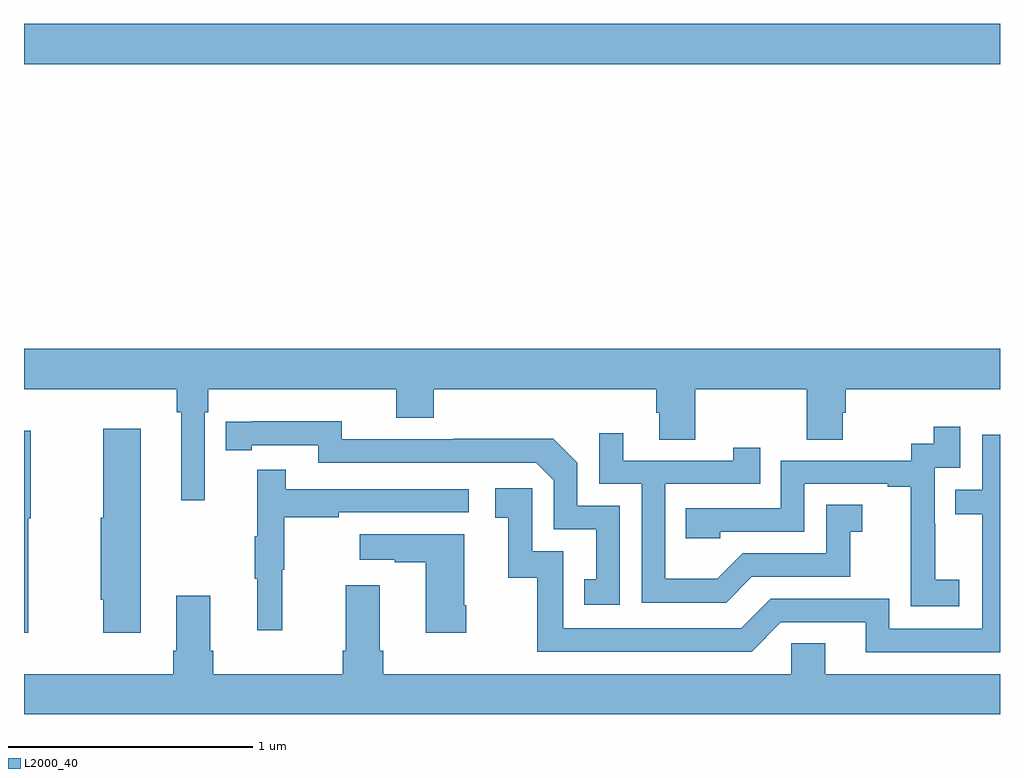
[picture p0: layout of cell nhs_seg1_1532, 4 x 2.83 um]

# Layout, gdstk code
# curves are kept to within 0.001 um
import gdstk
lib = gdstk.Library(unit=1e-6, precision=1e-09)
def R(c, l, rs):  # rectangles x0, y0, x1, y1
    for r in rs: c.add(gdstk.rectangle(r[:2], r[2:], *l))
def P(c, l, *ps):  # polygons
    for p in ps: c.add(gdstk.Polygon(p, *l))
L2000_40 = (2000, 40)

nhs_seg1_1532 = lib.new_cell('nhs_seg1_1532')
R(nhs_seg1_1532, L2000_40, [(195,515.768,199,515.932)])
P(nhs_seg1_1532, L2000_40, [(195.741,514.34),(195.755,514.34),(195.755,514.436),(196.526,514.436),(196.526,514.319),(196.679,514.319),(196.679,514.436),(197.591,514.436),(197.591,514.338),(197.603,514.338),(197.603,514.228),(197.751,514.228),(197.751,514.436),(198.208,514.436),(198.208,514.228),(198.355,514.228),(198.355,514.338),(198.368,514.338),(198.368,514.436),(199,514.436),(199,514.6),(195,514.6),(195,514.436),(195.625,514.436),(195.625,514.34),(195.644,514.34),(195.644,513.981),(195.741,513.981)],
  [(197.442,513.957),(197.268,513.957),(197.268,514.134),(197.17,514.232),(196.762,514.232),(196.762,514.23),(196.302,514.23),(196.302,514.303),(195.826,514.302),(195.826,514.186),(195.934,514.186),(195.934,514.206),(196.206,514.206),(196.206,514.134),(197.1,514.134),(197.172,514.062),(197.172,513.861),(197.345,513.861),(197.345,513.657),(197.296,513.657),(197.296,513.552),(197.442,513.552)],
  [(198.832,513.655),(198.734,513.655),(198.734,513.884),(198.732,513.884),(198.732,514.113),(198.837,514.113),(198.837,514.282),(198.729,514.282),(198.729,514.212),(198.636,514.212),(198.636,514.143),(198.102,514.143),(198.102,513.948),(197.713,513.948),(197.713,513.825),(197.853,513.825),(197.853,513.852),(198.198,513.852),(198.198,514.047),(198.539,514.047),(198.539,514.035),(198.635,514.035),(198.635,513.751),(198.634,513.751),(198.634,513.545),(198.832,513.545)],
  [(195.478,514.273),(195.325,514.273),(195.325,513.909),(195.314,513.909),(195.314,513.573),(195.325,513.573),(195.325,513.438),(195.478,513.438)],
  [(195.018,513.906),(195.028,513.906),(195.028,514.264),(195,514.264),(195,513.438),(195.018,513.438)],
  [(197.983,513.666),(198.387,513.666),(198.387,513.851),(198.436,513.851),(198.436,513.961),(198.288,513.961),(198.288,513.762),(197.946,513.762),(197.842,513.658),(197.628,513.658),(197.628,514.047),(198.017,514.047),(198.017,514.195),(197.906,514.195),(197.906,514.143),(197.455,514.143),(197.455,514.255),(197.358,514.255),(197.358,514.047),(197.532,514.047),(197.532,513.561),(197.878,513.561)],
  [(199,514.248),(198.927,514.248),(198.927,514.023),(198.817,514.023),(198.817,513.922),(198.927,513.922),(198.927,513.453),(198.546,513.453),(198.546,513.576),(198.06,513.576),(197.94,513.456),(197.211,513.456),(197.211,513.771),(197.082,513.771),(197.082,514.03),(196.932,514.03),(196.932,513.909),(196.985,513.909),(196.985,513.663),(197.103,513.663),(197.103,513.36),(197.982,513.36),(198.102,513.48),(198.449,513.48),(198.449,513.357),(199,513.357)],
  [(196.058,513.696),(196.066,513.696),(196.066,513.91),(196.289,513.91),(196.289,513.93),(196.822,513.93),(196.822,514.026),(196.073,514.026),(196.073,514.105),(195.956,514.105),(195.956,513.833),(195.945,513.833),(195.945,513.659),(195.956,513.659),(195.956,513.447),(196.058,513.447)],
  [(196.812,513.55),(196.804,513.55),(196.804,513.841),(196.377,513.841),(196.377,513.737),(196.52,513.737),(196.52,513.727),(196.646,513.727),(196.646,513.438),(196.812,513.438)],
  [(199,513.268),(198.283,513.268),(198.283,513.395),(198.144,513.395),(198.144,513.268),(196.472,513.268),(196.472,513.364),(196.459,513.364),(196.459,513.631),(196.319,513.631),(196.319,513.364),(196.307,513.364),(196.307,513.268),(195.776,513.268),(195.776,513.364),(195.763,513.364),(195.763,513.589),(195.623,513.589),(195.623,513.364),(195.611,513.364),(195.611,513.268),(195,513.268),(195,513.104),(199,513.104)])

lib.write_gds('nhs_seg1_1532.gds')
